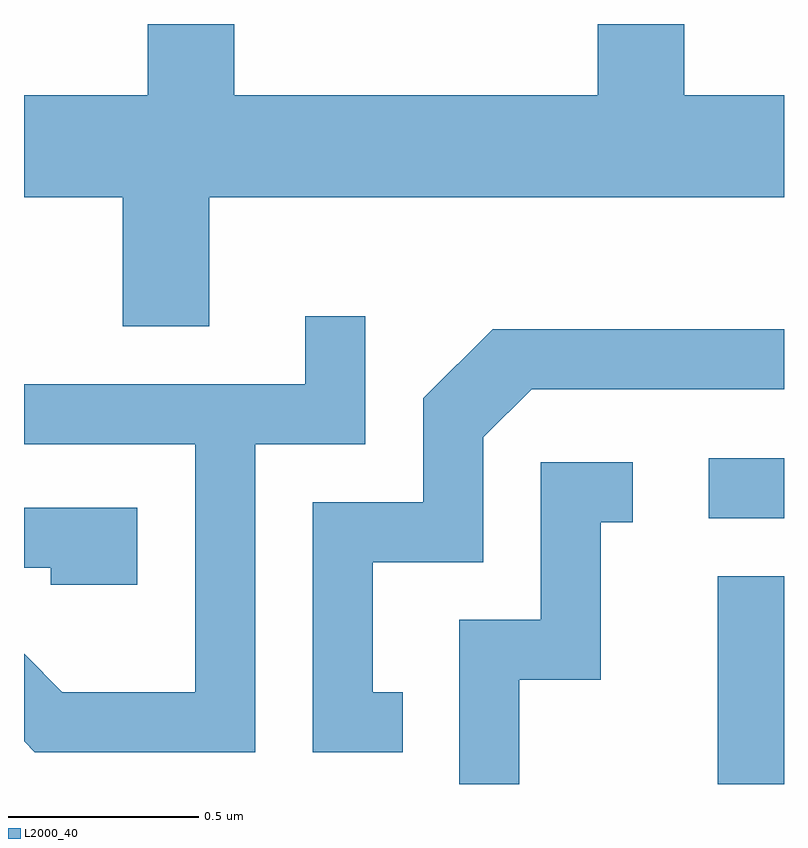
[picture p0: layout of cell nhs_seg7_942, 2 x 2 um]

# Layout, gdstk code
import gdstk
lib = gdstk.Library(unit=1e-6, precision=1e-09)
def R(c, l, rs):  # rectangles x0, y0, x1, y1
    for r in rs: c.add(gdstk.rectangle(r[:2], r[2:], *l))
def P(c, l, *ps):  # polygons
    for p in ps: c.add(gdstk.Polygon(p, *l))
L2000_40 = (2000, 40)

nhs_seg7_942 = lib.new_cell('nhs_seg7_942')
R(nhs_seg7_942, L2000_40, [(193.436,1788.252,193.611,1788.799), (193.413,1788.951,193.611,1789.109)])
P(nhs_seg7_942, L2000_40, [(192.099,1789.796),(193.611,1789.796),(193.611,1790.064),(193.349,1790.064),(193.349,1790.252),(193.121,1790.252),(193.121,1790.064),(192.164,1790.064),(192.164,1790.252),(191.936,1790.252),(191.936,1790.064),(191.611,1790.064),(191.611,1789.796),(191.871,1789.796),(191.871,1789.456),(192.099,1789.456)],
  [(192.219,1789.146),(192.509,1789.146),(192.509,1789.483),(192.351,1789.483),(192.351,1789.304),(191.611,1789.304),(191.611,1789.146),(192.061,1789.146),(192.061,1788.494),(191.712,1788.494),(191.611,1788.595),(191.611,1788.364),(191.639,1788.336),(192.219,1788.336)],
  [(192.608,1788.494),(192.529,1788.494),(192.529,1788.836),(192.819,1788.836),(192.819,1789.164),(192.947,1789.291),(193.611,1789.291),(193.611,1789.449),(192.844,1789.449),(192.661,1789.267),(192.661,1788.994),(192.371,1788.994),(192.371,1788.336),(192.608,1788.336)],
  [(192.914,1788.526),(193.129,1788.526),(193.129,1788.941),(193.213,1788.941),(193.213,1789.099),(192.971,1789.099),(192.971,1788.684),(192.756,1788.684),(192.756,1788.252),(192.914,1788.252)],
  [(191.909,1788.979),(191.611,1788.979),(191.611,1788.821),(191.681,1788.821),(191.681,1788.776),(191.909,1788.776)])

lib.write_gds('nhs_seg7_942.gds')
